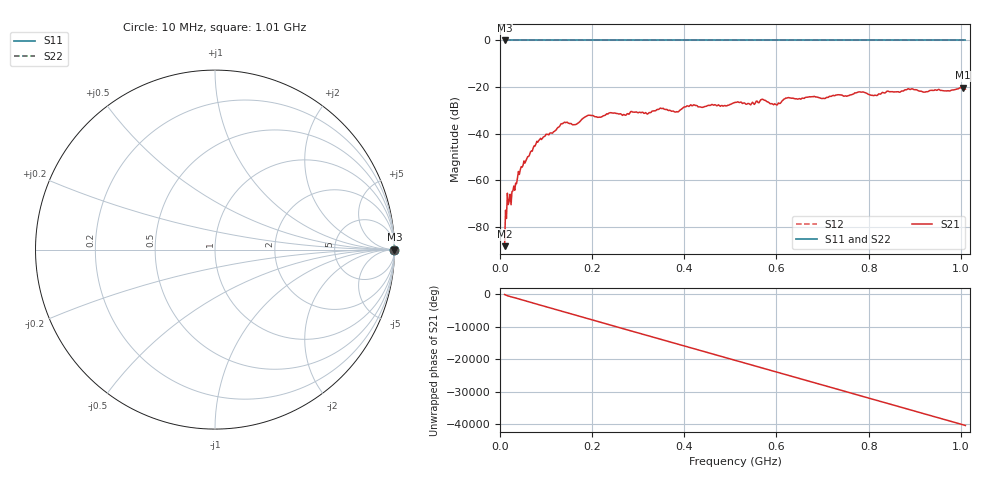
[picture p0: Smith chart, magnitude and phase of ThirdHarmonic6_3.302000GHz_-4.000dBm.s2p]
! 8/17/2025 10:17:47 AM
! C:\ANRITSUVNA\TEMP\TEMP.S2P
! CHANNEL.1
! TR.MEASUREMENT
! RAW.DATA
! RF.CORRECTION.OFF
! AVERAGING.OFF
! IF.BANDWIDTH: 5KHZ
! SWEEPTYPE:  FREQ.SWEEP(Linear)
! Reference Plane Port Info
! PORT:  PORT1  PORT2
! DISTANCE:  0  m  0  m
! TIME:  0  s  0  s
! PHASE.OFFSET:  0  deg.  0  deg.
! LOSS:  0  dB  0  dB
! REF.LOSS:  0  dB  0  dB
! REF.FREQ:  0  Hz  0  Hz
! Power Info
! POWER:  -20  dBm  -20  dBm
! EFF.POWER:  -20  dBm  -20  dBm
! SOURCE.ATTEN:  0  dB  0  dB
! TEST.ATTEN:  0  dB  0  dB
# GHZ S RI R 50.0
! FREQ.GHZ  S11RE  S11IM  S21RE  S21IM  S12RE  S12IM  S22RE  S22IM
!; PortSelection: Port_12
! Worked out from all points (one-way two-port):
!   501 points, 10 MHz to 1.01 GHz, reference 50 ohm
!   highest |S21| = -20.35 dB at 1.004 GHz (marker M1); lowest = -88.4 dB at 10 MHz (marker M2)
!   lowest |S11| = 0.0 dB at 10 MHz (marker M3)
!   |S11| at or under -10 dB: nowhere
!   |S22| runs from 0.0 to 0.0 dB; largest |S21 - S12| = 1.1
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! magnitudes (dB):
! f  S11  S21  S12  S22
! 10 MHz  0.0  -88.4  0.0  0.0
! 18 MHz  0.0  -70.5  0.0  0.0
! 28 MHz  0.0  -64.7  0.0  0.0
! 42 MHz  0.0  -57.6  0.0  0.0
! 76 MHz  0.0  -45.4  0.0  0.0
! 136 MHz  0.0  -35.7  0.0  0.0
! 162 MHz  0.0  -36.2  0.0  0.0
! 178 MHz  0.0  -33.8  0.0  0.0
! 192 MHz  0.0  -32.1  0.0  0.0
! 322 MHz  0.0  -31.3  0.0  0.0
! 344 MHz  0.0  -29.7  0.0  0.0
! 384 MHz  0.0  -30.6  0.0  0.0
! 410 MHz  0.0  -28.4  0.0  0.0
! 510 MHz  0.0  -26.6  0.0  0.0
! 570 MHz  0.0  -25.2  0.0  0.0
! 598 MHz  0.0  -27.4  0.0  0.0
! 624 MHz  0.0  -24.7  0.0  0.0
! 678 MHz  0.0  -24.1  0.0  0.0
! 814 MHz  0.0  -23.5  0.0  0.0
! 844 MHz  0.0  -22.0  0.0  0.0
! 1.004 GHz  0.0  -20.3  0.0  0.0
! 1.01 GHz  0.0  -20.9  0.0  0.0
